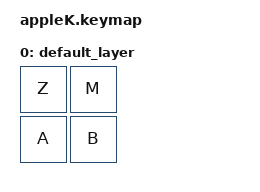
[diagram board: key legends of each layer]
/*
 * Copyright (c) 2020 The ZMK Contributors
 *
 * SPDX-License-Identifier: MIT
 */

#include <behaviors.dtsi>
#include <dt-bindings/zmk/keys.h>
#include <dt-bindings/zmk/bt.h>

    keymap {
        compatible = "zmk,keymap";

        default_layer { // Layer 0
            
// ----------------------------------------------
// |     Z     |     M     |     K     |
// |     A     |     B     |     C     |
            bindings = <
                &kp Z    &kp M    
                &kp A    &kp B    
            >;
        };
    };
